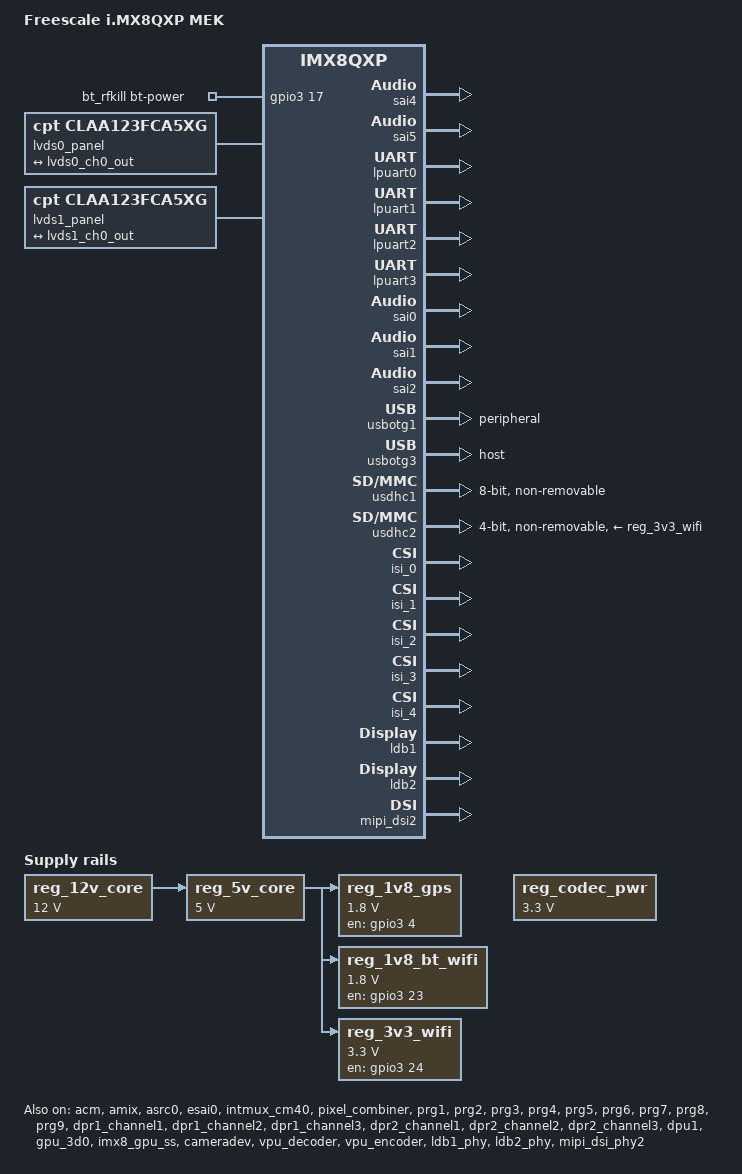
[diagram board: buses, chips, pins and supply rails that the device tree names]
/*
 * Copyright 2017-2018 NXP
 *
 * This program is free software; you can redistribute it and/or
 * modify it under the terms of the GNU General Public License
 * as published by the Free Software Foundation; either version 2
 * of the License, or (at your option) any later version.
 *
 * This program is distributed in the hope that it will be useful,
 * but WITHOUT ANY WARRANTY; without even the implied warranty of
 * MERCHANTABILITY or FITNESS FOR A PARTICULAR PURPOSE.  See the
 * GNU General Public License for more details.
 */

#include "fsl-imx8qxp.dtsi"

/ {
	firmware {
		android {
			compatible = "android,firmware";
			fstab {
				compatible = "android,fstab";
				vendor {
					compatible = "android,vendor";
					/* sd card node which used if androidboot.storage_type=sd */
					dev_sd = "/dev/block/platform/5b020000.usdhc/by-name/vendor";
					/* emmc node which used if androidboot.storage_type=emmc */
					dev_emmc = "/dev/block/platform/5b010000.usdhc/by-name/vendor";
					type = "ext4";
					mnt_flags = "ro,barrier=1,inode_readahead_blks=8";
					fsmgr_flags = "wait,slotselect,avb";
				};
			};
			vbmeta {
				/*we need use FirstStageMountVBootV2 if we enable avb*/
				compatible = "android,vbmeta";
				/*parts means the partition witch can be mount in first stage*/
				parts = "vbmeta,boot,system,vendor";
			};
		};
	};
};

/ {
	model = "Freescale i.MX8QXP MEK";
	compatible = "fsl,imx8qxp-mek", "fsl,imx8qxp";

	chosen {
		bootargs = "console=ttyLP0,115200 earlycon=lpuart32,0x5a060000,115200";
		stdout-path = &lpuart0;
	};

	bt_rfkill {
		compatible = "fsl,mxc_bt_rfkill";
		bt-power-gpios = <&gpio3 17 GPIO_ACTIVE_HIGH>;
		status ="okay";
	};

	brcmfmac: brcmfmac {
		compatible = "cypress,brcmfmac";
		pinctrl-names = "init", "idle", "default";
		pinctrl-0 = <&pinctrl_wifi_init>;
		pinctrl-1 = <&pinctrl_wifi_init>;
		pinctrl-2 = <&pinctrl_wifi>;
	};

	regulators {
		compatible = "simple-bus";
		#address-cells = <1>;
		#size-cells = <0>;

		reg_12v_core: fixedregulator@0 {
			compatible = "regulator-fixed";
			reg = <0>;
			regulator-name = "core-12v-pwr";
			regulator-min-microvolt = <12000000>;
			regulator-max-microvolt = <12000000>;
			regulator-always-on;
		};

		reg_5v_core: fixedregulator@1 {
			compatible = "regulator-fixed";
			reg = <1>;
			regulator-name = "core-5v-pwr";
			regulator-min-microvolt = <5000000>;
			regulator-max-microvolt = <5000000>;
			regulator-always-on;
			vin-supply = <&reg_12v_core>;
		};


		reg_1v8_gps: reg_1v8_gps@2 {
			compatible = "regulator-fixed";
			reg = <2>;
			regulator-name = "gps-pwr";
			regulator-min-microvolt = <1800000>;
			regulator-max-microvolt = <1800000>;
			gpio = <&gpio3 4 GPIO_ACTIVE_HIGH>;
			enable-active-high;
			regulator-boot-on;
			regulator-always-on;
			vin-supply = <&reg_5v_core>;
		};


		reg_1v8_bt_wifi: reg_1v8_bt_wifi@3 {
			compatible = "regulator-fixed";
			reg = <3>;
			regulator-name = "bt-wifi-pwr";
			regulator-min-microvolt = <1800000>;
			regulator-max-microvolt = <1800000>;
			regulator-boot-on;
			regulator-always-on;
			gpio = <&gpio3 23 GPIO_ACTIVE_HIGH>;
			enable-active-high;
			vin-supply = <&reg_5v_core>;
		};

		reg_3v3_wifi: reg_3v3_wifi@4 {
			compatible = "regulator-fixed";
			reg = <4>;
			regulator-name = "wifi-pwr-en";
			regulator-min-microvolt = <3300000>;
			regulator-max-microvolt = <3300000>;
			regulator-boot-on;
			regulator-always-on;
			gpio = <&gpio3 24 GPIO_ACTIVE_HIGH>;
			enable-active-high;
			vin-supply = <&reg_5v_core>;
		};


		reg_codec_pwr: reg_codec_pwri@5 {
			compatible = "regulator-fixed";
			reg = <5>;
			regulator-name = "codec-pwr-en";
			regulator-min-microvolt = <3300000>;
			regulator-max-microvolt = <3300000>;
			regulator-boot-on;
			regulator-always-on;
			//gpio = <&gpio3 2 GPIO_ACTIVE_HIGH>;
			enable-active-high;
		};
	};





	sound-bt {
		compatible = "fsl,imx-audio-bt";
		model = "bt-audio";
		cpu-dai = <&sai1>;
		audio-codec = <&bt_sco>;
		codec-master;
		status = "disabled";
	};

	bt_sco: codec-bt-sco { 
	       compatible = "linux,bt-sco"; 
	       status = "disabled";
	
	}; 


	lvds0_panel {
		compatible = "cpt,claa123fca5xg";

		port {
			panel_lvds0_in: endpoint {
				remote-endpoint = <&lvds0_ch0_out>;
			};
		};
	};

	lvds1_panel {
		compatible = "cpt,claa123fca5xg";

		port {
			panel_lvds1_in: endpoint {
				remote-endpoint = <&lvds1_ch0_out>;
			};
		};
	};

};

&acm {
	status = "okay";
};

&amix {
	status = "okay";
};

&asrc0 {
	fsl,asrc-rate  = <48000>;
	status = "okay";
};

&esai0 {
	compatible = "fsl,imx8qm-esai";
	pinctrl-names = "default";
	pinctrl-0 = <&pinctrl_esai0>;
	assigned-clocks = <&clk IMX8QXP_ACM_ESAI0_MCLK_SEL>,
			<&clk IMX8QXP_AUD_PLL0_DIV>,
			<&clk IMX8QXP_AUD_ACM_AUD_PLL_CLK0_DIV>,
			<&clk IMX8QXP_AUD_ACM_AUD_REC_CLK0_DIV>,
			<&clk IMX8QXP_AUD_ESAI_0_EXTAL_IPG>;
	assigned-clock-parents = <&clk IMX8QXP_AUD_ACM_AUD_PLL_CLK0_CLK>;
	assigned-clock-rates = <0>, <786432000>, <49152000>, <12288000>, <49152000>;
	fsl,txm-rxs;
	status = "okay";
};

&sai4 {
	assigned-clocks = <&clk IMX8QXP_ACM_SAI4_MCLK_SEL>,
			<&clk IMX8QXP_AUD_PLL1_DIV>,
			<&clk IMX8QXP_AUD_ACM_AUD_PLL_CLK1_DIV>,
			<&clk IMX8QXP_AUD_ACM_AUD_REC_CLK1_DIV>,
			<&clk IMX8QXP_AUD_SAI_4_MCLK>;
	assigned-clock-parents = <&clk IMX8QXP_AUD_ACM_AUD_PLL_CLK1_CLK>;
	assigned-clock-rates = <0>, <786432000>, <98304000>, <12288000>, <98304000>;
	fsl,sai-asynchronous;
	fsl,txm-rxs;
	status = "okay";
};

&sai5 {
	assigned-clocks = <&clk IMX8QXP_ACM_SAI5_MCLK_SEL>,
			<&clk IMX8QXP_AUD_PLL1_DIV>,
			<&clk IMX8QXP_AUD_ACM_AUD_PLL_CLK1_DIV>,
			<&clk IMX8QXP_AUD_ACM_AUD_REC_CLK1_DIV>,
			<&clk IMX8QXP_AUD_SAI_5_MCLK>;
	assigned-clock-parents = <&clk IMX8QXP_AUD_ACM_AUD_PLL_CLK1_CLK>;
	assigned-clock-rates = <0>, <786432000>, <98304000>, <12288000>, <98304000>;
	fsl,sai-asynchronous;
	fsl,txm-rxs;
	status = "okay";
};

&iomuxc {
	pinctrl-names = "default";
	pinctrl-0 = <&pinctrl_hog>;

	imx8qxp-mek {
		pinctrl_hog: hoggrp {
			fsl,pins = <
				SC_P_MCLK_OUT0_ADMA_ACM_MCLK_OUT0	0x0600004c
				SC_P_COMP_CTL_GPIO_1V8_3V3_GPIORHB_PAD	0x000514a0
			>;
		};

		pinctrl_csi0_lpi2c0: csi0lpi2c0grp {
			fsl,pins = <
				SC_P_MIPI_CSI0_I2C0_SCL_MIPI_CSI0_I2C0_SCL	0xc2000020
				SC_P_MIPI_CSI0_I2C0_SDA_MIPI_CSI0_I2C0_SDA	0xc2000020
			>;
		};

		pinctrl_esai0: esai0grp {
			fsl,pins = <
				SC_P_ESAI0_FSR_ADMA_ESAI0_FSR		0xc6000040
				SC_P_ESAI0_FST_ADMA_ESAI0_FST		0xc6000040
				SC_P_ESAI0_SCKR_ADMA_ESAI0_SCKR		0xc6000040
				SC_P_ESAI0_SCKT_ADMA_ESAI0_SCKT		0xc6000040
				SC_P_ESAI0_TX0_ADMA_ESAI0_TX0		0xc6000040
				SC_P_ESAI0_TX1_ADMA_ESAI0_TX1		0xc6000040
				SC_P_ESAI0_TX2_RX3_ADMA_ESAI0_TX2_RX3	0xc6000040
				SC_P_ESAI0_TX3_RX2_ADMA_ESAI0_TX3_RX2	0xc6000040
				SC_P_ESAI0_TX4_RX1_ADMA_ESAI0_TX4_RX1	0xc6000040
				SC_P_ESAI0_TX5_RX0_ADMA_ESAI0_TX5_RX0	0xc6000040
			>;
		};

		pinctrl_lpuart0: lpuart0grp {
			fsl,pins = <
				SC_P_UART0_RX_ADMA_UART0_RX	0x06000020
				SC_P_UART0_TX_ADMA_UART0_TX	0x06000020
			>;
		};

		pinctrl_lpuart1: lpuart1grp {
			fsl,pins = <
				SC_P_UART1_TX_ADMA_UART1_TX		0x06000020
				SC_P_UART1_RX_ADMA_UART1_RX		0x06000020
				SC_P_UART1_RTS_B_ADMA_UART1_RTS_B	0x06000020
				SC_P_UART1_CTS_B_ADMA_UART1_CTS_B	0x06000020
			>;
		};

		pinctrl_lpuart2: lpuart2grp {
			fsl,pins = <
				SC_P_UART2_TX_ADMA_UART2_TX	0x06000020
				SC_P_UART2_RX_ADMA_UART2_RX	0x06000020
			>;
		};

		pinctrl_lpuart3: lpuart3grp {
			fsl,pins = <
				SC_P_FLEXCAN2_TX_ADMA_UART3_TX	0x06000020
				SC_P_FLEXCAN2_RX_ADMA_UART3_RX	0x06000020
			>;
		};



		pinctrl_cm40_i2c: cm40i2cgrp {
			fsl,pins = <
				SC_P_ADC_IN1_M40_I2C0_SDA	0x0600004c
				SC_P_ADC_IN0_M40_I2C0_SCL	0x0600004c
			>;
		};


		pinctrl_lpi2c2: lpi2cgrp {
			fsl,pins = <
				SC_P_MIPI_DSI1_GPIO0_00_ADMA_I2C2_SCL   0x06000020
				SC_P_MIPI_DSI1_GPIO0_01_ADMA_I2C2_SDA   0x06000020
			>;
		};

		pinctrl_lpspi2: lpspi2grp {
			fsl,pins = <
				SC_P_SPI2_SCK_ADMA_SPI2_SCK             0x0600004c
				SC_P_SPI2_SDO_ADMA_SPI2_SDO             0x0600004c
				SC_P_SPI2_SDI_ADMA_SPI2_SDI             0x0600004c
				SC_P_SPI2_CS0_ADMA_SPI2_CS0             0x06000021
			>;
		};

		pinctrl_sai0: sai0grp {
		 	fsl,pins = <
		 		SC_P_SAI0_RXD_ADMA_SAI0_RXD 0x0600004c
		 		SC_P_SAI0_TXC_ADMA_SAI0_TXC 0x0600004c
		 		SC_P_SAI0_TXFS_ADMA_SAI0_TXFS 0x0600004c
		 		SC_P_SAI0_TXD_ADMA_SAI0_TXD 0x0600006c
		 	>;
		 };

		pinctrl_sai1: sai1grp {
			fsl,pins = <
				SC_P_SAI1_RXD_ADMA_SAI1_RXD	0x06000040
				SC_P_SAI1_RXC_ADMA_SAI1_TXC	0x06000040
				SC_P_SAI1_RXFS_ADMA_SAI1_TXFS	0x06000040
				SC_P_SPI0_CS1_ADMA_SAI1_TXD	0x06000060
			>;
		};

		pinctrl_sai2: sai2grp {
		 	fsl,pins = <
				SC_P_FLEXCAN0_TX_ADMA_SAI2_RXD 0x06000040
				SC_P_FLEXCAN0_RX_ADMA_SAI2_RXC 0x06000040
				SC_P_FLEXCAN1_RX_ADMA_SAI2_RXFS 0x06000040
		 	>;
		 };

		pinctrl_usdhc1: usdhc1grp {
			fsl,pins = <
				SC_P_EMMC0_CLK_CONN_EMMC0_CLK		0x06000041
				SC_P_EMMC0_CMD_CONN_EMMC0_CMD		0x00000021
				SC_P_EMMC0_DATA0_CONN_EMMC0_DATA0	0x00000021
				SC_P_EMMC0_DATA1_CONN_EMMC0_DATA1	0x00000021
				SC_P_EMMC0_DATA2_CONN_EMMC0_DATA2	0x00000021
				SC_P_EMMC0_DATA3_CONN_EMMC0_DATA3	0x00000021
				SC_P_EMMC0_DATA4_CONN_EMMC0_DATA4	0x00000021
				SC_P_EMMC0_DATA5_CONN_EMMC0_DATA5	0x00000021
				SC_P_EMMC0_DATA6_CONN_EMMC0_DATA6	0x00000021
				SC_P_EMMC0_DATA7_CONN_EMMC0_DATA7	0x00000021
				SC_P_EMMC0_STROBE_CONN_EMMC0_STROBE	0x00000041
			>;
		};

		pinctrl_usdhc1_100mhz: usdhc1grp100mhz {
			fsl,pins = <
				SC_P_EMMC0_CLK_CONN_EMMC0_CLK		0x06000041
				SC_P_EMMC0_CMD_CONN_EMMC0_CMD		0x00000021
				SC_P_EMMC0_DATA0_CONN_EMMC0_DATA0	0x00000021
				SC_P_EMMC0_DATA1_CONN_EMMC0_DATA1	0x00000021
				SC_P_EMMC0_DATA2_CONN_EMMC0_DATA2	0x00000021
				SC_P_EMMC0_DATA3_CONN_EMMC0_DATA3	0x00000021
				SC_P_EMMC0_DATA4_CONN_EMMC0_DATA4	0x00000021
				SC_P_EMMC0_DATA5_CONN_EMMC0_DATA5	0x00000021
				SC_P_EMMC0_DATA6_CONN_EMMC0_DATA6	0x00000021
				SC_P_EMMC0_DATA7_CONN_EMMC0_DATA7	0x00000021
				SC_P_EMMC0_STROBE_CONN_EMMC0_STROBE	0x00000041
			>;
		};

		pinctrl_usdhc1_200mhz: usdhc1grp200mhz {
			fsl,pins = <
				SC_P_EMMC0_CLK_CONN_EMMC0_CLK		0x06000041
				SC_P_EMMC0_CMD_CONN_EMMC0_CMD		0x00000021
				SC_P_EMMC0_DATA0_CONN_EMMC0_DATA0	0x00000021
				SC_P_EMMC0_DATA1_CONN_EMMC0_DATA1	0x00000021
				SC_P_EMMC0_DATA2_CONN_EMMC0_DATA2	0x00000021
				SC_P_EMMC0_DATA3_CONN_EMMC0_DATA3	0x00000021
				SC_P_EMMC0_DATA4_CONN_EMMC0_DATA4	0x00000021
				SC_P_EMMC0_DATA5_CONN_EMMC0_DATA5	0x00000021
				SC_P_EMMC0_DATA6_CONN_EMMC0_DATA6	0x00000021
				SC_P_EMMC0_DATA7_CONN_EMMC0_DATA7	0x00000021
				SC_P_EMMC0_STROBE_CONN_EMMC0_STROBE	0x00000041
			>;
		};

		pinctrl_usdhc2: usdhc2grp {
			fsl,pins = <
				SC_P_USDHC1_CLK_CONN_USDHC1_CLK		0x06000041
				SC_P_USDHC1_CMD_CONN_USDHC1_CMD		0x00000021
				SC_P_USDHC1_DATA0_CONN_USDHC1_DATA0	0x00000021
				SC_P_USDHC1_DATA1_CONN_USDHC1_DATA1	0x00000021
				SC_P_USDHC1_DATA2_CONN_USDHC1_DATA2	0x00000021
				SC_P_USDHC1_DATA3_CONN_USDHC1_DATA3	0x00000021
			>;
		};

		pinctrl_pcieb: pcieagrp{
			fsl,pins = <
				SC_P_PCIE_CTRL0_PERST_B_LSIO_GPIO4_IO00		0x06000021
				SC_P_PCIE_CTRL0_CLKREQ_B_LSIO_GPIO4_IO01	0x06000021
				SC_P_PCIE_CTRL0_WAKE_B_LSIO_GPIO4_IO02		0x04000021
			>;
		};

		pinctrl_mipi_csi0_gpio: mipicsi0gpiogrp{
			fsl,pins = <
				SC_P_MIPI_CSI0_GPIO0_00_MIPI_CSI0_GPIO0_IO00	0x00000021
				SC_P_MIPI_CSI0_GPIO0_01_MIPI_CSI0_GPIO0_IO01	0x00000021
			>;
		};

		pinctrl_gpio3: gpio3grp{
			fsl,pins = <
				SC_P_MIPI_CSI0_GPIO0_01_LSIO_GPIO3_IO07		0xC0000041
				SC_P_MIPI_CSI0_GPIO0_00_LSIO_GPIO3_IO08		0xC0000041
			        SC_P_QSPI0B_SS0_B_LSIO_GPIO3_IO23		0x04000021  //wlan+bt pwr
		                SC_P_QSPI0B_SS1_B_LSIO_GPIO3_IO24		0x04000021  // wlan en
			        SC_P_QSPI0B_SCLK_LSIO_GPIO3_IO17			0x04000021  // bt en
			        SC_P_MIPI_CSI0_MCLK_OUT_LSIO_GPIO3_IO04		0x04000021  // gps pwr
			        SC_P_CSI_EN_LSIO_GPIO3_IO02			0x04000021  //codec pwr
			>;
		};

		pinctrl_wifi: wifigrp{
			fsl,pins = <
				SC_P_SCU_BOOT_MODE3_SCU_DSC_RTC_CLOCK_OUTPUT_32K	0x20
			>;
		};

		pinctrl_wifi_init: wifi_initgrp{
			fsl,pins = <
				SC_P_SCU_BOOT_MODE3_SCU_DSC_BOOT_MODE3		0x20
			>;
		};

		pinctrl_parallel_csi: parallelcsigrp {
			fsl,pins = <
				SC_P_CSI_D00_CI_PI_D02		0xC0000041
				SC_P_CSI_D01_CI_PI_D03		0xC0000041
				SC_P_CSI_D02_CI_PI_D04		0xC0000041
				SC_P_CSI_D03_CI_PI_D05		0xC0000041
				SC_P_CSI_D04_CI_PI_D06		0xC0000041
				SC_P_CSI_D05_CI_PI_D07		0xC0000041
				SC_P_CSI_D06_CI_PI_D08		0xC0000041
				SC_P_CSI_D07_CI_PI_D09		0xC0000041

				SC_P_CSI_MCLK_CI_PI_MCLK		0xC0000041
				SC_P_CSI_PCLK_CI_PI_PCLK		0xC0000041
				SC_P_CSI_HSYNC_CI_PI_HSYNC		0xC0000041
				SC_P_CSI_VSYNC_CI_PI_VSYNC		0xC0000041
				SC_P_CSI_EN_LSIO_GPIO3_IO02		0xC0000041
				SC_P_CSI_RESET_LSIO_GPIO3_IO03	0xC0000041
			>;
		};

	       pinctrl_codec: codecgrp {
		      fsl,pins = <
		               
		               SC_P_CSI_RESET_LSIO_GPIO3_IO03   0x04000021              
		       >;
	       };



	};
};

&pd_dma_lpuart0 {
	debug_console;
};

&lpuart0 {
	pinctrl-names = "default";
	pinctrl-0 = <&pinctrl_lpuart0>;
	status = "okay";
};

&lpuart1 {
	pinctrl-names = "default";
	pinctrl-0 = <&pinctrl_lpuart1>;
	status = "okay";
};

&lpuart2 {
	pinctrl-names = "default";
	pinctrl-0 = <&pinctrl_lpuart2>;
	status = "okay";
};

&lpuart3 {
	pinctrl-names = "default";
	pinctrl-0 = <&pinctrl_lpuart3>;
	status = "okay";
};




&pd_cm40_intmux {
	early_power_on;
};

&intmux_cm40 {
	status = "okay";
};

&i2c0_cm40 {
	#address-cells = <1>;
	#size-cells = <0>;
	clock-frequency = <100000>;
	pinctrl-names = "default";
	pinctrl-0 = <&pinctrl_cm40_i2c>;
	status = "disabled";

};

&i2c1 {
	#address-cells = <1>;
	#size-cells = <0>;
	clock-frequency = <100000>;
	status = "disabled";
};

&i2c2 {
	#address-cells = <1>;
	#size-cells = <0>;
	clock-frequency = <100000>;
	pinctrl-names = "default";
	pinctrl-0 = <&pinctrl_lpi2c2>;
	status = "disabled";

};

&lpspi2 {
	#address-cells = <1>;
	#size-cells = <0>;
	// fsl,spi-num-chipselects = <1>;
	pinctrl-names = "default";
	pinctrl-0 = <&pinctrl_lpspi2>;
	// cs-gpios = <&gpio1 0 GPIO_ACTIVE_HIGH>;
	status = "disabled";


};

&sai0 {
        pinctrl-names = "default";
        pinctrl-0 = <&pinctrl_sai0>;
        assigned-clocks = <&clk IMX8QXP_AUD_PLL0_DIV>,
                        <&clk IMX8QXP_AUD_ACM_AUD_PLL_CLK0_DIV>,
                        <&clk IMX8QXP_AUD_ACM_AUD_REC_CLK0_DIV>,
                        <&clk IMX8QXP_AUD_SAI_0_MCLK>;
        assigned-clock-rates = <786432000>, <49152000>, <12288000>, <49152000>;
        status = "okay";
};


&sai1 {
	assigned-clocks = <&clk IMX8QXP_AUD_PLL0_DIV>,
			<&clk IMX8QXP_AUD_ACM_AUD_PLL_CLK0_DIV>,
			<&clk IMX8QXP_AUD_ACM_AUD_REC_CLK0_DIV>,
			<&clk IMX8QXP_AUD_SAI_1_MCLK>;
	assigned-clock-rates = <786432000>, <49152000>, <12288000>, <49152000>;
	pinctrl-names = "default";
	pinctrl-0 = <&pinctrl_sai1>;
	status = "okay";
};

&sai2 {
    assigned-clocks = <&clk IMX8QXP_AUD_PLL0_DIV>,
            <&clk IMX8QXP_AUD_ACM_AUD_PLL_CLK0_DIV>,
            <&clk IMX8QXP_AUD_ACM_AUD_REC_CLK0_DIV>,
            <&clk IMX8QXP_AUD_SAI_2_MCLK>;
    assigned-clock-rates = <786432000>, <49152000>, <12288000>, <49152000>;
    pinctrl-names = "default";
    pinctrl-0 = <&pinctrl_sai2>;
    status = "okay";
};

&usbotg1 {
	dr_mode = "peripheral";
	status = "okay";
};

&usbotg3 {
	dr_mode = "host";
	status = "okay";
};

&usbphy1 {
	fsl,tx-d-cal = <114>;
};

&usdhc1 {
	pinctrl-names = "default", "state_100mhz", "state_200mhz";
	pinctrl-0 = <&pinctrl_usdhc1>;
	pinctrl-1 = <&pinctrl_usdhc1_100mhz>;
	pinctrl-2 = <&pinctrl_usdhc1_200mhz>;
	bus-width = <8>;
	non-removable;
	status = "okay";
};

&usdhc2 {
	pinctrl-names = "default";
	pinctrl-0 = <&pinctrl_usdhc2>;
	bus-width = <4>;
	vmmc-supply = <&reg_3v3_wifi>;
	non-removable;
	status = "okay";
};



&pixel_combiner {
	status = "okay";
};

&prg1 {
	status = "okay";
};

&prg2 {
	status = "okay";
};

&prg3 {
	status = "okay";
};

&prg4 {
	status = "okay";
};

&prg5 {
	status = "okay";
};

&prg6 {
	status = "okay";
};

&prg7 {
	status = "okay";
};

&prg8 {
	status = "okay";
};

&prg9 {
	status = "okay";
};

&dpr1_channel1 {
	status = "okay";
};

&dpr1_channel2 {
	status = "okay";
};

&dpr1_channel3 {
	status = "okay";
};

&dpr2_channel1 {
	status = "okay";
};

&dpr2_channel2 {
	status = "okay";
};

&dpr2_channel3 {
	status = "okay";
};

&dpu1 {
	status = "okay";
};

&gpu_3d0 {
	status = "okay";
};

&imx8_gpu_ss {
	status = "okay";
};


&cameradev {
	parallel_csi;
	status = "okay";
};


&isi_0 {
	status = "okay";
};

&isi_1 {
	status = "okay";
};

&isi_2 {
	status = "okay";
};

&isi_3 {
	status = "okay";
};

&isi_4 {
	interface = <6 0 2>;	/* INPUT: 6-PARALLEL CSI */
	parallel_csi;
	status = "okay";
};

&gpio3 {
	pinctrl-name = "default";
	pinctrl-0 = <&pinctrl_gpio3>;
};


&vpu {
	status = "disabled";
};

&vpu_decoder {
	core_type = <1>;
	status = "okay";
};

&vpu_encoder {
	status = "okay";
};

&pwm_mipi_lvds0 {
	status = "disabled";
};

/* DSI/LVDS port 0 */
&i2c0_mipi_lvds0 {
	status = "disabled";
};

&ldb1_phy {
	status = "okay";
};

&ldb1 {
	status = "okay";

	lvds-channel@0 {
		fsl,data-mapping = "spwg";
		fsl,data-width = <24>;
		status = "okay";


		port@1 {
			reg = <1>;

			lvds0_ch0_out: endpoint {
				remote-endpoint = <&panel_lvds0_in>;
			};
		};
	};
};

&mipi_dsi_phy1 {
	status = "disabled";
};

&mipi_dsi1 {
	pwr-delay = <10>;
	status = "disabled";
};

&mipi_dsi_bridge1 {
	status = "disabled";

};


/* DSI/LVDS port 1 */
/* DSI/LVDS port 1 */
&i2c0_mipi_lvds1 {
	status = "disabled";
};

&ldb2_phy {
	status = "okay";
};

&ldb2 {
	status = "okay";

	lvds-channel@0 {
		fsl,data-mapping = "spwg";
		fsl,data-width = <24>;
		status = "okay";

		port@1 {
			reg = <1>;

			lvds1_ch0_out: endpoint {
				remote-endpoint = <&panel_lvds1_in>;
			};
		};
	};
};

&mipi_dsi_phy2 {
	status = "okay";
};

&mipi_dsi2 {
	pwr-delay = <10>;
	status = "okay";
};

&mipi_dsi_bridge2 {
	status = "disabled";

};

&tsens {
	tsens-num = <3>;
};

&thermal_zones {
	pmic-thermal0 {
		polling-delay-passive = <250>;
		polling-delay = <2000>;
		thermal-sensors = <&tsens 2>;
		trips {
			pmic_alert0: trip0 {
				temperature = <110000>;
				hysteresis = <2000>;
				type = "passive";
			};
			pmic_crit0: trip1 {
				temperature = <125000>;
				hysteresis = <2000>;
				type = "critical";
			};
		};
		cooling-maps {
			map0 {
				trip = <&pmic_alert0>;
				cooling-device =
				<&A35_0 THERMAL_NO_LIMIT THERMAL_NO_LIMIT>;
			};
		};
	};
};

&crypto {
       status = "disabled";
};

/ {
    reserved-memory {
	    #address-cells = <2>;
	    #size-cells = <2>;
	    ranges;

	    carveout_region: imx_ion@0 {
		    compatible = "imx-ion-pool";
		    reg = <0x0 0xf8000000 0 0x8000000>;
	    };
    };
};
